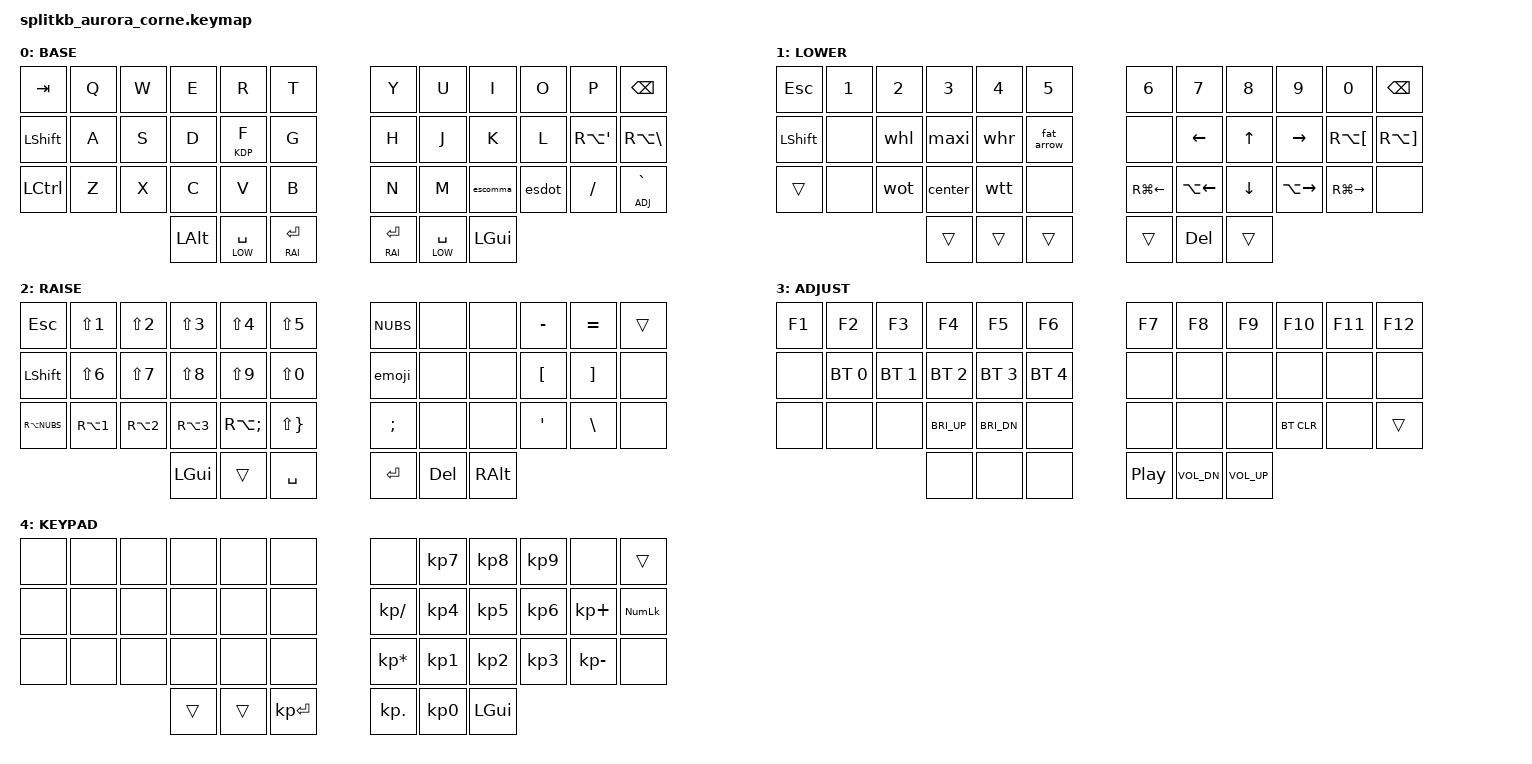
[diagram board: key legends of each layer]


#define DEF 0
#define LOW 1
#define RAI 2
#define ADJ 3
#define KDP 4


#include <behaviors.dtsi>
#include <dt-bindings/zmk/keys.h>
#include <dt-bindings/zmk/bt.h>

/ {
  chosen {
    zmk,matrix_transform = &default_transform;
    //zmk,matrix_transform = &five_column_transform;
  };

  behaviors {
    escomma: spanish_comma {
      compatible = "zmk,behavior-mod-morph";
      label = "SPANISH_COMMA";
      #binding-cells = <0>;
      bindings = <&kp COMMA>, <&kp LS(COMMA)>;
      mods = <(MOD_LSFT|MOD_RSFT)>;
    };
    esdot: spanish_dot {
      compatible = "zmk,behavior-mod-morph";
      label = "SPANISH_DOT";
      #binding-cells = <0>;
      bindings = <&kp DOT>, <&kp LS(DOT)>;
      mods = <(MOD_LSFT|MOD_RSFT)>;
    };
    esntilde: spanish_ntilde {
      compatible = "zmk,behavior-mod-morph";
      label = "SPANISH_NTILDE";
      #binding-cells = <0>;
      bindings = <&kp SEMI>, <&kp COLON>;
      mods = <(MOD_LSFT|MOD_RSFT)>;
    };
    // angle brackets: < GRAVE   > LS(GRAVE)
    // single quote:   ' MINUS   ? LS(MINUS)
    // double quote:   " EQUAL   ? LS(EQUAL)
  };

  macros {
      fat_arrow: fat_arrow {
            label = "ZMK_fat_arrow";
            compatible = "zmk,behavior-macro";
            #binding-cells = <0>;
            wait-ms = <40>;
            tap-ms = <40>;
            bindings = <&kp LS(N0) &kp LS(GRAVE)>;
      };
      whl: whl {
            label = "ZMK_window_half_left";
            compatible = "zmk,behavior-macro";
            #binding-cells = <0>;
            bindings = <&kp LC(LA(LEFT))>;
      };
      whr: whr {
            label = "ZMK_window_half_right";
            compatible = "zmk,behavior-macro";
            #binding-cells = <0>;
            bindings = <&kp LC(LA(RIGHT))>;
      };
      wot: wot {
            label = "ZMK_window_one_third";
            compatible = "zmk,behavior-macro";
            #binding-cells = <0>;
            bindings = <&kp LC(LA(D))>;
      };
      wtt: wtt {
            label = "ZMK_window_two_thirds";
            compatible = "zmk,behavior-macro";
            #binding-cells = <0>;
            bindings = <&kp LC(LA(E))>;
      };
      center: center {
            label = "ZMK_center_window";
            compatible = "zmk,behavior-macro";
            #binding-cells = <0>;
            bindings = <&kp LC(LA(C))>;
      };
      maxi: maximize {
            label = "ZMK_maximize_window";
            compatible = "zmk,behavior-macro";
            #binding-cells = <0>;
            bindings = <&kp LC(LA(ENTER))>;
      };
      emoji: emojis {
            label = "ZMK_emojis";
            compatible = "zmk,behavior-macro";
            #binding-cells = <0>;
            bindings = <&kp LG(LC(SPACE))>;    
      };
  };

  keymap {
    compatible = "zmk,keymap";

    default_layer {
      label = "BASE";
// -----------------------------------------------------------------------------------------
// |  TAB |  Q  |  W  |  E  |  R  |  T  |   |  Y  |  U   |  I  |  O  |  P  | BKSP |
// | SHFT |  A  |  S  |  D  | KPD |  G  |   |  H  |  J   |  K  |  L  |  {  | }    |
//                          |  F  |
// | CTRL |  Z  |  X  |  C  |  V  |  B  |   |  N  |  M   |  ,  |  .  |  -  | ADJ NUBS  |
//                    | ALT | LWR | RAI |   | RAI | LWR  | GUI | 
//                            SPC | ENT |   | ENT | SPC  
      bindings = <
   &kp TAB   &kp Q &kp W &kp E &kp R     &kp T   &kp Y &kp U  &kp I     &kp O   &kp P       &kp BSPC
   &kp LSHFT &kp A &kp S &kp D &lt KDP F &kp G   &kp H &kp J  &kp K     &kp L   &kp RA(SQT) &kp RA(BSLH)
   &kp LCTRL &kp Z &kp X &kp C &kp V     &kp B   &kp N &kp M  &escomma  &esdot  &kp SLASH   &lt ADJ GRAVE 
             &kp LALT &lt LOW SPACE &lt RAI RET  &lt RAI RET &lt LOW SPACE &kp LGUI
      >;
    };
    lower_layer {
      label = "LOWER";
// -----------------------------------------------------------------------------------------
// |  ESC |  1  |  2  |  3     |  4  |  5  |   |  6  |  7  |  8  |  9  |  0  | ___ |
// | SHIFT| XXX | WHL | MAXI   | WHR | =>  |   | LFT | DWN |  UP | RGT |  [  |  ]  | 
// | SHFT | XXX | W1T | CENTER | W2T | XXX |   | XXX | HOM | XXX | END | XXX | XXX |
//                    | ALT    | LWR | RAI |   | RAI | LWR | GUI |
//                               SPC | ENT |   | ENT | SPC  
      bindings = <
   &kp ESC    &kp N1  &kp N2  &kp N3  &kp N4  &kp N5          &kp N6       &kp N7       &kp N8   &kp N9        &kp N0        &kp BSPC
   &kp LSHFT  &none   &whl    &maxi   &whr    &fat_arrow      &none        &kp LEFT     &kp UP   &kp RIGHT     &kp RA(LBKT)  &kp RA(RBKT)
   &trans     &none   &wot    &center &wtt    &none           &kp RG(LEFT) &kp LA(LEFT) &kp DOWN    &kp LA(RIGHT) &kp RG(RIGHT) &none
                              &trans  &trans  &trans          &trans     &kp DEL  &trans
      >;
    };

    raise_layer {
      label = "RAISE";
// -----------------------------------------------------------------------------------------
// | ESC  |  !  |  "  |  ·  |  $  |  %  |   |  º  | XXX | XXX |  '  |  ¡  | ___ | 
// | SHFT |  &  |  /  |  (  |  )  |  =  |   | emo | XXX | XXX |  `  |  +  | XXX |    
// | \    | "|" |  @  |  #  |  ~  |  *  |   |  Ñ  | XXX | XXX |  ´  |  ç  | XXX | 
//                    | GUI | LWR | SPC |   | ENT | LWR | ALT |
//                            SPC |               | SPC   
      bindings = <
   &kp ESC      &kp LS(N1) &kp LS(N2) &kp LS(N3) &kp LS(N4)   &kp LS(N5)     &kp NUBS &none   &none  &kp MINUS &kp EQUAL &trans
   &kp LSHFT    &kp LS(N6) &kp LS(N7) &kp LS(N8) &kp LS(N9)   &kp LS(N0)     &emoji   &none   &none  &kp LBKT  &kp RBKT  &none
   &kp RA(NUBS) &kp RA(N1) &kp RA(N2) &kp RA(N3) &kp RA(SEMI) &kp LS(RBRC)   &kp SEMI &none   &none  &kp SQT   &kp BSLH  &none
                                      &kp LGUI   &trans       &kp SPACE      &kp RET  &kp DEL  &kp RALT
      >;
    };

    adjust_layer {
      label = "ADJUST";
// -----------------------------------------------------------------------------------------
// |  F1  |  F2 |  F3 |  F4 |  F5 |  F6 |   |  F7  |    F8  |   F9   | F10 | F11 | F12 |
// | BTCLR| BT1 | BT2 | BT3 | BT4 | BT5 |   | XXX  |   XXX  |  XXX   | XXX | XXX | XXX |
// | XXX  | XXX | XXX | XXX | XXX | XXX |   | XXX  |   XXX  |  XXX   | XXX | XXX | ___ |
//                    | XXX | XXX | XXX |   | PLAY | VOL_DN | VOL_UP |
                        bindings = <
&kp F1  &kp F2       &kp F3       &kp F4       &kp F5       &kp F6         &kp F7   &kp F8       &kp F9  &kp F10    &kp F11 &kp F12
&none   &bt BT_SEL 0 &bt BT_SEL 1 &bt BT_SEL 2 &bt BT_SEL 3 &bt BT_SEL 4   &none    &none        &none   &none      &none   &none
&none   &none        &none        &kp C_BRI_UP &kp C_BRI_DN &none          &none    &none        &none   &bt BT_CLR &none   &trans
                                  &none        &none        &none          &kp C_PP &kp C_VOL_DN &kp C_VOL_UP
      >;
    };

    keypad_layer {
      label = "KEYPAD";
// -----------------------------------------------------------------------------------------
// | XXX | XXX | XXX | XXX | XXX | XXX    |   | XXX |  7  |  8  |  9  | XXX | ________ |
// | XXX | XXX | XXX | XXX | XXX | XXX    |   |  /  |  4  |  5  |  6  |  +  | NUM_LOCK |
// | XXX | XXX | XXX | XXX | XXX | XXX    |   |  *  |  1  |  2  |  3  |  -  | XXXXXXXX |
//                   | ALT | SPC | KP_ENT |   |  .  |  0  | GUI |
      bindings = <
        &none   &none   &none   &none   &none   &none             &none           &kp KP_N7  &kp KP_N8  &kp KP_N9  &none        &trans
        &none   &none   &none   &none   &none   &none             &kp KP_SLASH    &kp KP_N4  &kp KP_N5  &kp KP_N6  &kp KP_PLUS  &kp KP_NLCK
        &none   &none   &none   &none   &none   &none             &kp KP_ASTERISK &kp KP_N1  &kp KP_N2  &kp KP_N3  &kp KP_MINUS &none
                                &trans  &trans  &kp KP_ENTER      &kp KP_DOT      &kp KP_N0  &kp LGUI
      >;
    };
  };
};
